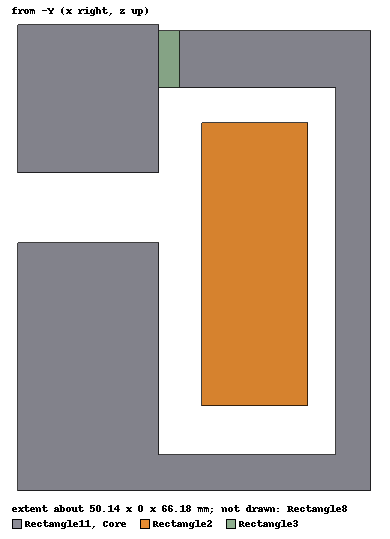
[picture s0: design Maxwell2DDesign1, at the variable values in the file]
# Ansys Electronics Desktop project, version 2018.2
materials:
  vacuum: permittivity=1
  430F stainless steel: permeability{BType=normal HUnit=Oe BUnit=gauss curve (0, 0) (0.39, 85.05) (0.92, 340.21) (1.45, 595.36) (1.71, 850.52) (2.11, 1275.77) (2.24, 1615.98) (2.37, 2041.24) (2.5, 2466.49) (2.63, 2891.75) (2.89, 3487.11) (3.03, 4167.53) (3.16, 4762.89) (3.29, 5188.14) (3.42, 5783.51) (3.55, 6463.92) (3.68, 7144.33) (3.95, 7824.74) (4.21, 8420.1) (4.47, 8930.41) (4.74, 9355.67) (5, 9865.98) (5.39, 10376.3) (5.79, 10886.6) (6.18, 11226.8) (7.11, 11652.1) (7.76, 11907.2) (9.08, 12332.5) (10.26, 12502.6) (11.45, 12757.7) (13.16, 12927.8) (14.74, 13012.9) (16.32, 13183) (17.89, 13268) (19.08, 13353.1) (22.24, 13523.2) (23.95, 13608.2) (25.39, 13650.3) (26.58, 13693.8) (27.89, 13748.4) (28.82, 13768.5) (29.87, 13788.6) (31.58, 13808.7) (39.47, 13881) (46.05, 14055.6) (57.89, 14317.5) (69.74, 14579.4) (82.89, 14841.3) (97.37, 15015.9) (114.47, 15277.8) (128.95, 15452.4) (142.11, 15539.7) (157.9, 15714.3) (175, 15888.9) (190.8, 15976.2) (206.58, 16063.5) (227.63, 16150.8) (246.05, 16238.1) (264.47, 16325.4) (282.9, 16412.7) (300, 16442.9) (500, 17000)}
  copper: permeability=0.999991 conductivity=58000000
  teflon_based: permittivity=2.08 dielectric_loss_tangent=0.001
  416 stainless: permeability{BType=normal HUnit=A_per_meter BUnit=tesla curve (0, 0) (10, 0.003) (79, 0.028) (154, 0.068) (219, 0.116) (269, 0.16) (302, 0.192) (366, 0.272) (453, 0.388) (604, 0.561) (752, 0.709) (959, 0.85) (1173, 0.952) (1589, 1.085) (1847, 1.14) (2234, 1.195) (2673, 1.237) (3344, 1.283) (4880, 1.359) (6577, 1.418) (8356, 1.46) (11409, 1.525) (13921, 1.566) (19525, 1.614)}

design Maxwell2DDesign1 (Maxwell 2D, Magnetostatic, about Z geometry, model units mm)
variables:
  delta = 0mm
  curr = 350A
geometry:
  coordinate_system RelativeCS1 = origin=(0mm, 0mm, 0mm) x=(0mm, 0mm, 1mm) y=(0mm, 1mm, 0mm)
  Core [430F stainless steel, oriented by RelativeCS1] = rectangle(corner=(0.0001mm, 0mm, 0mm), z_size=20.8mm, x_size=20mm)
  Rectangle2 [copper] = rectangle(corner=(21mm, 0mm, 15mm), z_size=-40mm, x_size=15mm)
  Rectangle2.move(2mm, 0mm, 2mm)
  Rectangle2.move(2mm, 0mm, -2mm)
  Rectangle2.move(0mm, 0mm, -6mm)
  Rectangle2.move(0mm, 0mm, -2mm)
  Rectangle2.move(-6mm, 0mm, 0mm)
  Rectangle2.move(0mm, 0mm, -5mm)
  Rectangle2.move(5mm, 0mm, 0mm)
  Rectangle2.move(-5mm, 0mm, 10mm)
  Rectangle2.move(5mm, 0mm, 5mm)
  Rectangle2.move(-4mm, 0mm, 0mm)
  Rectangle2.move(0mm, 0mm, -20mm)
  Rectangle2.move(0mm, 0mm, -5mm)
  Rectangle2.move(0mm, 0mm, 25mm)
  Rectangle2.move(0mm, 0mm, -10mm)
  Rectangle2.move(0mm, 0mm, -10mm)
  Rectangle3 [teflon_based] = rectangle(corner=(20.01mm, 0mm, 20mm), z_size=-8mm, x_size=2.98mm)
  Rectangle4 = rectangle(corner=(23mm, 0mm, 20mm), z_size=-8mm, x_size=43mm)
  Rectangle2.move(6mm, 0mm, 0mm)
  Rectangle5 = rectangle(corner=(66mm, 0mm, 12mm), z_size=-48mm, x_size=-8mm)
  Rectangle6 = rectangle(corner=(58mm, 0mm, -36mm), z_size=8mm, x_size=-58mm)
  Rectangle7 = rectangle(corner=(20mm, 0mm, -28mm), z_size=18mm, x_size=-20mm)
  Rectangle7.unite(Rectangle4, Rectangle5, Rectangle6)
  Rectangle8 [vacuum] = rectangle(corner=(0mm, 0mm, 40mm), z_size=-95mm, x_size=85mm)
  Rectangle2.move(0mm, 0mm, 5mm)
  Rectangle9 = rectangle(corner=(66mm, 0mm, -36mm), z_size=-14mm, x_size=-66mm)
  Rectangle9.unite(Rectangle7)
  Rectangle10 = rectangle(corner=(58mm, 0mm, -28mm), z_size=-12mm, x_size=-38mm)
  Rectangle9.subtract(Rectangle10)
  Rectangle2.move(0mm, 0mm, -10mm)
  Rectangle2.move(0mm, 0mm, -10mm)
  Rectangle2.move(0mm, 0mm, 25mm)
  Rectangle11 [416 stainless] = rectangle(corner=(45mm, 0mm, -40mm), z_size=55mm, x_size=15mm)
  Rectangle11.unite(Rectangle9)
  Rectangle12 = rectangle(corner=(66mm, 0mm, 20mm), z_size=-70mm, x_size=-16mm)
  Rectangle11.subtract(Rectangle12)
  Rectangle13 = rectangle(corner=(50mm, 0mm, -50mm), z_size=5mm, x_size=-50mm)
  Rectangle11.subtract(Rectangle13)
  coordinate_system RelativeCS2 = origin=(0mm, 0mm, 0mm) x=(0mm, 0mm, 1mm) y=(0mm, 1mm, 0mm)
  Core.move(0mm, 0mm, delta)
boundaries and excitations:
  Balloon1: Balloon Edges=Rectangle8.edge(z opposite corner, x opposite corner, z at corner)
  Current1: Current Objects=Rectangle2 Current=curr IsPositive=true
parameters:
  Force1: Force Reference_CS=Global Objects=Core
  Matrix1: Matrix Current1: NumberOfTurns=1
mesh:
  initial mesh: MeshMethod=AnsoftTAU
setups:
  Setup1: Magnetostatic MaximumPasses=10 MinimumPasses=2 MinimumConvergedPasses=1 PercentRefinement=30 PercentError=1 NonLinearResidual=0.0001
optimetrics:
  ParametricSetup1: Parametric Sim._Setups=[Setup1]
    sweep delta: LIN 0mm 10mm 0.5mm
    sweep curr: LINC 0A 350A 20
    table edits: edit(0mm, 0A, 0mm, -1A)
    calculate Force1.Force_z on Setup1 : LastAdaptive
    calculate Matrix1.L(Current1,Current1) on Setup1 : LastAdaptive
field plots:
  Mag_H1: H over Core, Rectangle2, Rectangle3, Rectangle8, Rectangle11 on Setup1 : LastAdaptive
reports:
  MagFlux Plot 1: Matrix1.MagFlux(Current1) vs delta on Setup1 : LastAdaptive [curr=all]
  MagFlux Plot 2: Matrix1.MagFlux(Current1) vs curr on Setup1 : LastAdaptive [delta=all]
  L Plot 1: Matrix1.L(Current1,Current1) vs curr on Setup1 : LastAdaptive [delta=all]
  MagFlux Plot 3:
